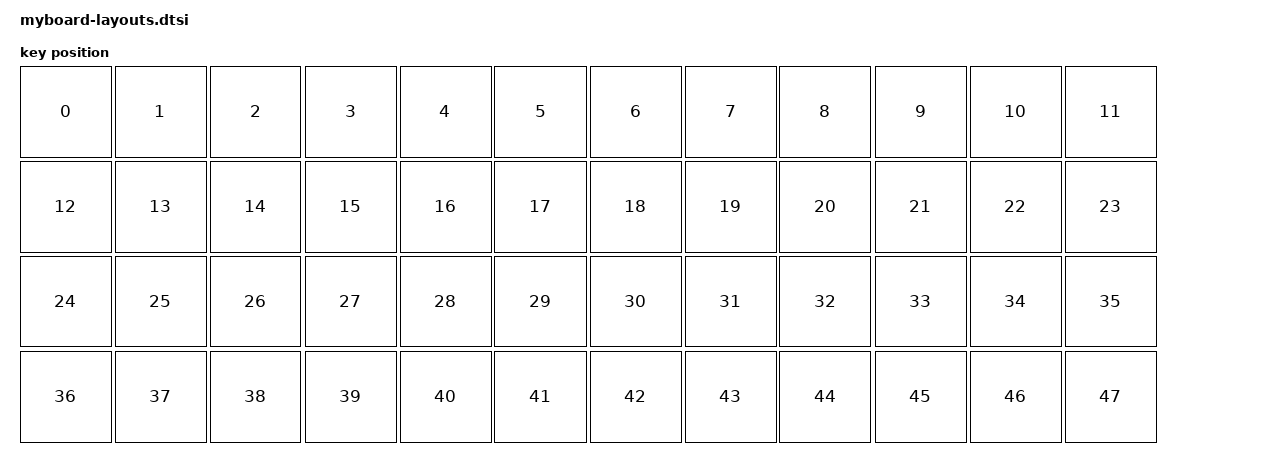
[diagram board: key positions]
/* myboard-layouts.dtsi */
#include <physical_layouts.dtsi>

/ {

    physical_layout0: physical_layout_0 {
        compatible = "zmk,physical-layout";
        display-name = "Default Layout";
        transform = <&default_transform>;
        kscan = <&kscan0>;
        
        /* * 1u key size = 190 units (scaled for ZMK Studio display) 
         * Format: <&key_physical_attrs w h x y rot rx ry>
         */
        keys  // Row 1
            = <&key_physical_attrs 190 190 0 0 0 0 0>
            , <&key_physical_attrs 190 190 190 0 0 0 0>
            , <&key_physical_attrs 190 190 380 0 0 0 0>
            , <&key_physical_attrs 190 190 570 0 0 0 0>
            , <&key_physical_attrs 190 190 760 0 0 0 0>
            , <&key_physical_attrs 190 190 950 0 0 0 0>
            , <&key_physical_attrs 190 190 1140 0 0 0 0>
            , <&key_physical_attrs 190 190 1330 0 0 0 0>
            , <&key_physical_attrs 190 190 1520 0 0 0 0>
            , <&key_physical_attrs 190 190 1710 0 0 0 0>
            , <&key_physical_attrs 190 190 1900 0 0 0 0>
            , <&key_physical_attrs 190 190 2090 0 0 0 0>

            // Row 2
            , <&key_physical_attrs 190 190 0 190 0 0 0>
            , <&key_physical_attrs 190 190 190 190 0 0 0>
            , <&key_physical_attrs 190 190 380 190 0 0 0>
            , <&key_physical_attrs 190 190 570 190 0 0 0>
            , <&key_physical_attrs 190 190 760 190 0 0 0>
            , <&key_physical_attrs 190 190 950 190 0 0 0>
            , <&key_physical_attrs 190 190 1140 190 0 0 0>
            , <&key_physical_attrs 190 190 1330 190 0 0 0>
            , <&key_physical_attrs 190 190 1520 190 0 0 0>
            , <&key_physical_attrs 190 190 1710 190 0 0 0>
            , <&key_physical_attrs 190 190 1900 190 0 0 0>
            , <&key_physical_attrs 190 190 2090 190 0 0 0>

            // Row 3
            , <&key_physical_attrs 190 190 0 380 0 0 0>
            , <&key_physical_attrs 190 190 190 380 0 0 0>
            , <&key_physical_attrs 190 190 380 380 0 0 0>
            , <&key_physical_attrs 190 190 570 380 0 0 0>
            , <&key_physical_attrs 190 190 760 380 0 0 0>
            , <&key_physical_attrs 190 190 950 380 0 0 0>
            , <&key_physical_attrs 190 190 1140 380 0 0 0>
            , <&key_physical_attrs 190 190 1330 380 0 0 0>
            , <&key_physical_attrs 190 190 1520 380 0 0 0>
            , <&key_physical_attrs 190 190 1710 380 0 0 0>
            , <&key_physical_attrs 190 190 1900 380 0 0 0>
            , <&key_physical_attrs 190 190 2090 380 0 0 0>

            // Row 4
            , <&key_physical_attrs 190 190 0 570 0 0 0>
            , <&key_physical_attrs 190 190 190 570 0 0 0>
            , <&key_physical_attrs 190 190 380 570 0 0 0>
            , <&key_physical_attrs 190 190 570 570 0 0 0>
            , <&key_physical_attrs 190 190 760 570 0 0 0>
            , <&key_physical_attrs 190 190 950 570 0 0 0>
            , <&key_physical_attrs 190 190 1140 570 0 0 0>
            , <&key_physical_attrs 190 190 1330 570 0 0 0>
            , <&key_physical_attrs 190 190 1520 570 0 0 0>
            , <&key_physical_attrs 190 190 1710 570 0 0 0>
            , <&key_physical_attrs 190 190 1900 570 0 0 0>
            , <&key_physical_attrs 190 190 2090 570 0 0 0>
            ;
    };
};
